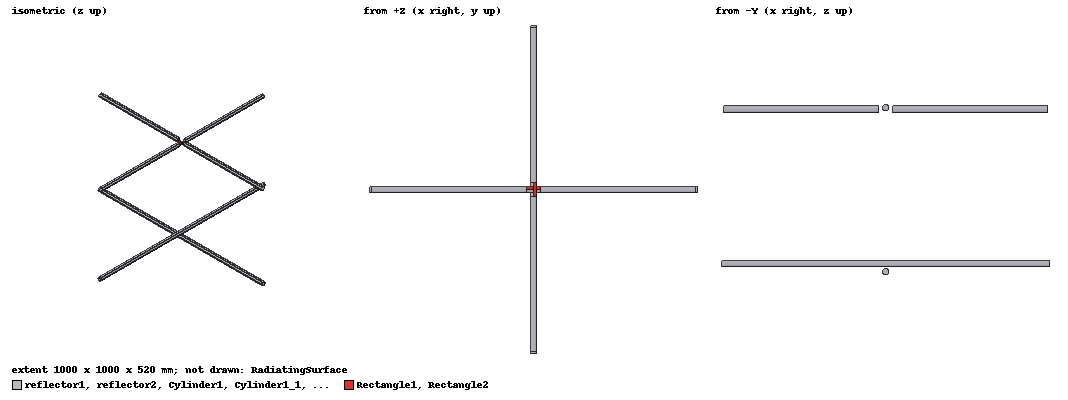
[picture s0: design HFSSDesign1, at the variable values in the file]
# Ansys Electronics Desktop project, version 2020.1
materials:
  vacuum: permittivity=1
  aluminum: permeability=1.000021 conductivity=38000000

design HFSSDesign1 (HFSS, DrivenModal, model units mm)
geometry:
  Cylinder1 [aluminum] = cylinder(axis=Y, base_centre=(0mm, 20mm, 0mm), radius=10mm, height=475mm)
  Cylinder1_1 [aluminum] = Cylinder1.duplicate_mirror(point=(0mm, 0mm, 0mm), normal=(0mm, -20mm, 0mm))
  Cylinder2 [aluminum] = cylinder(axis=X, base_centre=(20mm, 0mm, -5mm), radius=10mm, height=475mm)
  reflector1 [aluminum] = cylinder(axis=Y, base_centre=(0mm, -500mm, -500mm), radius=10mm, height=1000mm)
  reflector2 [aluminum] = cylinder(axis=X, base_centre=(-500mm, 0mm, -475mm), radius=10mm, height=1000mm)
  Cylinder2_1 [aluminum] = Cylinder2.duplicate_mirror(point=(0mm, 0mm, 0mm), normal=(-20mm, 0mm, 0mm))
  Rectangle1 = rectangle(corner=(-20mm, 0mm, -5mm), x_size=40mm, y_size=10mm)
  Rectangle2 = rectangle(corner=(0mm, -20mm, 0mm), x_size=10mm, y_size=40mm)
  RadiatingSurface [vacuum] = region(absolute_offset=727.27273mm on all sides)
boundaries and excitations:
  Open1: Radiation Objects=RadiatingSurface
  1: Lumped Port Objects=Rectangle1 Modes{Mode1{IntLine{middle of Rectangle1.edge(x opposite corner) -> middle of Rectangle1.edge(x at corner)} CharImp=Zpi}} Impedance=50ohm
  3: Lumped Port Objects=Rectangle2 Modes{Mode1{IntLine{middle of Rectangle2.edge(y opposite corner) -> middle of Rectangle2.edge(y at corner)} CharImp=Zpi RenormImp=50ohm}} Impedance=50ohm
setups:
  Setup1: HfssDriven Frequency=137.5MHz MaxDeltaS=0.02 MaximumPasses=50 MinimumPasses=1 MinimumConvergedPasses=1 PercentRefinement=30 BasisOrder=1 PortAccuracy=2 SaveAnyFields=false
    sweep Sweep: 100MHz to 200MHz, 100 points; Type=Fast SaveFields
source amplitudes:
  1:1: 1W 0deg
  3:1: 0W 0deg
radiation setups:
  3D: Infinite Sphere Theta=0deg..180deg step 2deg Phi=-180deg..180deg step 2deg
  Elevation: Infinite Sphere Theta=-180deg..180deg step 1deg Phi=0deg..90deg step 90deg
  Azimuth: Infinite Sphere Theta=90deg..90deg step 0deg Phi=-180deg..180deg step 1deg
